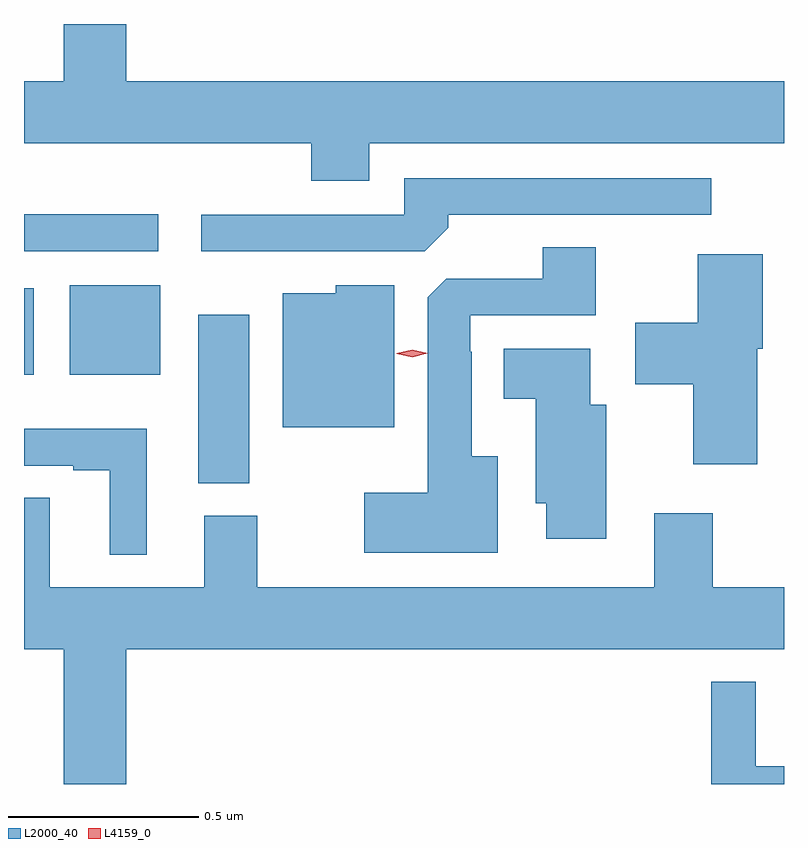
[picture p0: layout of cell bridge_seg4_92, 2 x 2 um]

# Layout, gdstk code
import gdstk
lib = gdstk.Library(unit=1e-6, precision=1e-09)
def R(c, l, rs):  # rectangles x0, y0, x1, y1
    for r in rs: c.add(gdstk.rectangle(r[:2], r[2:], *l))
def P(c, l, *ps):  # polygons
    for p in ps: c.add(gdstk.Polygon(p, *l))
L2000_40 = (2000, 40)
L4159_0 = (4159, 0)

bridge_seg4_92 = lib.new_cell('bridge_seg4_92')
R(bridge_seg4_92, L2000_40, [(441.086,789.265,441.22,789.709), (440.627,789.551,440.653,789.778), (440.747,789.551,440.986,789.787), (440.627,789.876,440.98,789.974)])
P(bridge_seg4_92, L2000_40, [(441.535,790.16),(442.627,790.16),(442.627,790.324),(440.896,790.324),(440.896,790.474),(440.732,790.474),(440.732,790.324),(440.627,790.324),(440.627,790.16),(441.383,790.16),(441.383,790.061),(441.535,790.061)],
  [(441.743,789.938),(441.743,789.972),(442.435,789.972),(442.435,790.068),(441.627,790.068),(441.627,789.972),(441.093,789.972),(441.093,789.876),(441.681,789.876)],
  [(441.874,789.337),(441.805,789.337),(441.805,789.611),(441.801,789.611),(441.801,789.708),(442.132,789.708),(442.132,789.887),(441.992,789.887),(441.992,789.804),(441.738,789.804),(441.689,789.755),(441.689,789.241),(441.522,789.241),(441.522,789.083),(441.874,789.083)],
  [(442.556,789.619),(442.571,789.619),(442.571,789.868),(442.4,789.868),(442.4,789.688),(442.236,789.688),(442.236,789.526),(442.388,789.526),(442.388,789.315),(442.556,789.315)],
  [(441.601,789.787),(441.447,789.787),(441.447,789.766),(441.308,789.766),(441.308,789.413),(441.601,789.413)],
  [(442.159,789.472),(442.117,789.472),(442.117,789.619),(441.89,789.619),(441.89,789.488),(441.974,789.488),(441.974,789.213),(442.001,789.213),(442.001,789.12),(442.159,789.12)],
  [(440.95,789.409),(440.627,789.409),(440.627,789.312),(440.756,789.312),(440.756,789.3),(440.852,789.3),(440.852,789.077),(440.95,789.077)],
  [(440.896,788.828),(442.627,788.828),(442.627,788.992),(442.439,788.992),(442.439,789.187),(442.286,789.187),(442.286,788.992),(441.241,788.992),(441.241,789.18),(441.101,789.18),(441.101,788.992),(440.695,788.992),(440.695,789.227),(440.627,789.227),(440.627,788.828),(440.732,788.828),(440.732,788.474),(440.896,788.474)],
  [(442.627,788.521),(442.552,788.521),(442.552,788.743),(442.435,788.743),(442.435,788.474),(442.627,788.474)])
P(bridge_seg4_92, L4159_0, [(441.649,789.597),(441.608,789.606),(441.608,789.606),(441.608,789.607),(441.649,789.617),(441.69,789.607),(441.69,789.607),(441.69,789.607)])

lib.write_gds('bridge_seg4_92.gds')
